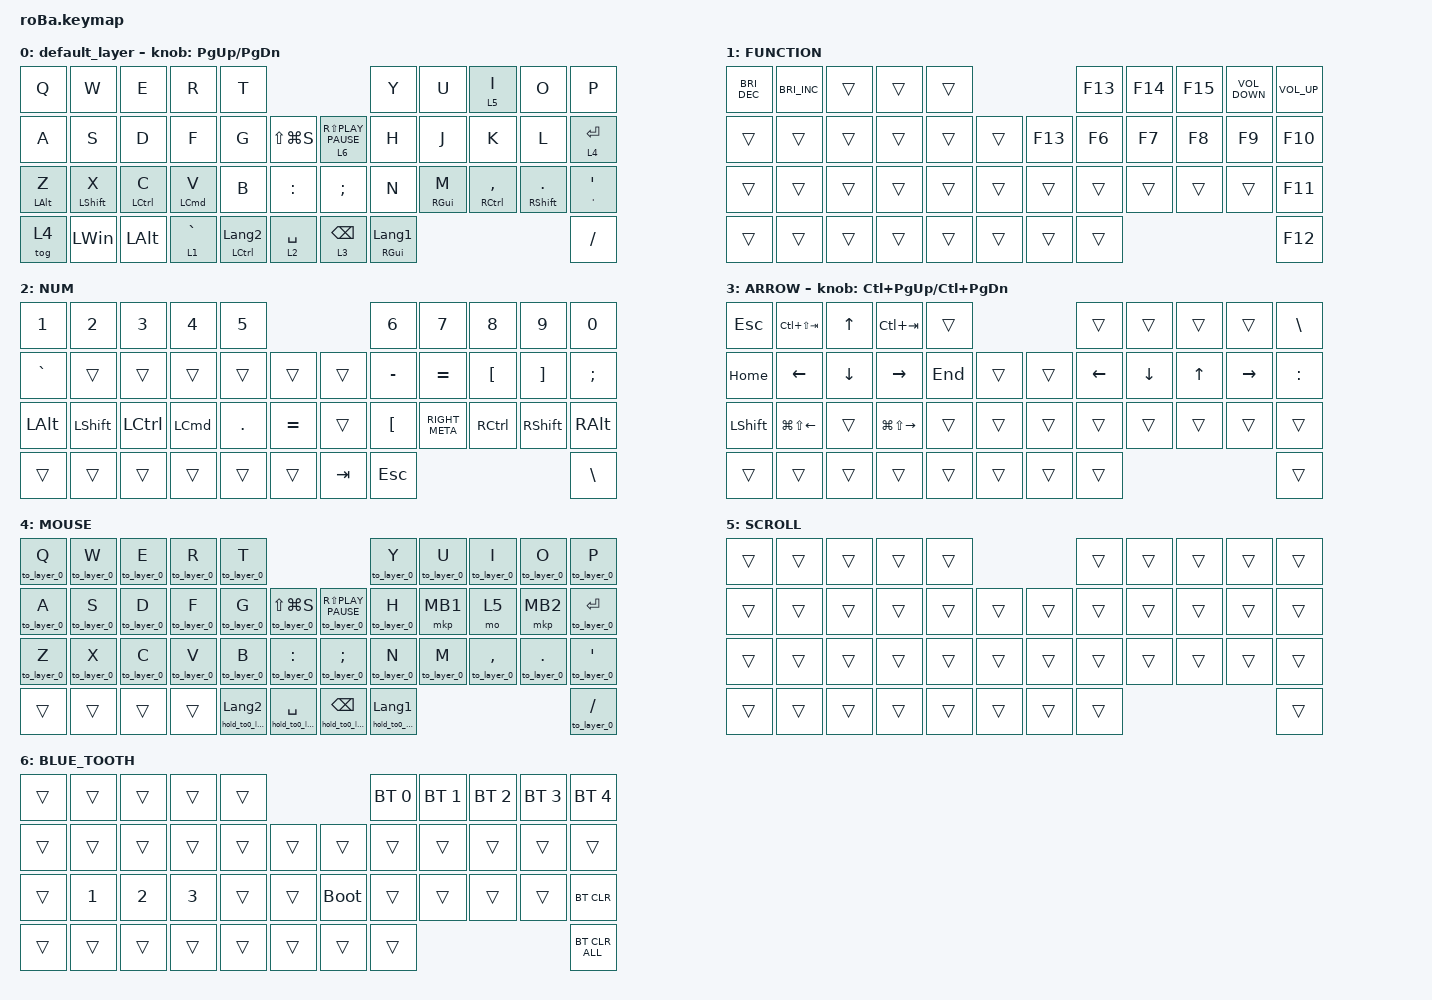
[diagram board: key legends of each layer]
#include <behaviors.dtsi>
#include <dt-bindings/zmk/bt.h>
#include <dt-bindings/zmk/keys.h>
#include <dt-bindings/zmk/pointing.h>

&mt {
    flavor = "balanced";
    quick-tap-ms = <0>;
};

&trackball { scroll-layers = <5>; };

/ {
    combos {
        compatible = "zmk,combos";

        tab {
            bindings = <&kp TAB>;
            key-positions = <11 12>;
        };

        shift_tab {
            bindings = <&kp LS(TAB)>;
            key-positions = <12 13>;
        };

        muhennkann {
            bindings = <&to_layer_0 INT_MUHENKAN>;
            key-positions = <11 10>;
        };

        double_quotation {
            bindings = <&kp DOUBLE_QUOTES>;
            key-positions = <20 21>;
        };

        eq {
            bindings = <&kp EQUAL>;
            key-positions = <24 25>;
        };
    };

    macros {
        // タップ用: layer0に戻る + キー送信

        to_layer_0: to_layer_0 {
            compatible = "zmk,behavior-macro-one-param";
            #binding-cells = <1>;
            bindings = <&to 0 &macro_param_1to1 &kp MACRO_PLACEHOLDER>;
            label = "TO_LAYER_0";
        };

        // ホールド用: layer0に戻る + RIGHT_GUI押し続ける

        hold_to0_rgui: hold_to0_rgui {
            compatible = "zmk,behavior-macro";
            #binding-cells = <0>;
            bindings =
                <&to 0>,
                <&macro_press>,
                <&kp RIGHT_GUI>,
                <&macro_pause_for_release>,
                <&macro_release>,
                <&kp RIGHT_GUI>;
        };

        // ホールド用: layer0に戻る + LEFT_CONTROL押し続ける

        hold_to0_lctrl: hold_to0_lctrl {
            compatible = "zmk,behavior-macro";
            #binding-cells = <0>;
            bindings =
                <&to 0>,
                <&macro_press>,
                <&kp LEFT_CONTROL>,
                <&macro_pause_for_release>,
                <&macro_release>,
                <&kp LEFT_CONTROL>;
        };

        // ホールド用: layer0に戻る + layer2(NUM)

        hold_to0_layer2: hold_to0_layer2 {
            compatible = "zmk,behavior-macro";
            #binding-cells = <0>;
            bindings = <&to 0 &tog 2>, <&macro_pause_for_release>, <&tog 2>;
        };

        // ホールド用: layer0に戻る + layer3(ARROW)

        hold_to0_layer3: hold_to0_layer3 {
            compatible = "zmk,behavior-macro";
            #binding-cells = <0>;
            bindings = <&to 0 &tog 3>, <&macro_pause_for_release>, <&tog 3>;
        };
    };

    behaviors {
        lt_to_layer_0: lt_to_layer_0 {
            compatible = "zmk,behavior-hold-tap";
            label = "LAYER_TAP_TO_0";
            bindings = <&mo>, <&to_layer_0>;

            #binding-cells = <2>;
            tapping-term-ms = <200>;
        };

        // layer0に戻る + tap=LANGUAGE_1, hold=RIGHT_GUI

        ht_to0_rgui_lang1: ht_to0_rgui_lang1 {
            compatible = "zmk,behavior-hold-tap";
            label = "HT_TO0_RGUI_LANG1";
            #binding-cells = <2>;
            tapping-term-ms = <100>;
            flavor = "hold-preferred";
            bindings = <&hold_to0_rgui>, <&to_layer_0>;
        };

        // layer0に戻る + tap=LANGUAGE_2, hold=LEFT_CONTROL

        ht_to0_lctrl_lang2: ht_to0_lctrl_lang2 {
            compatible = "zmk,behavior-hold-tap";
            label = "HT_TO0_LCTRL_LANG2";
            #binding-cells = <2>;
            tapping-term-ms = <100>;
            flavor = "hold-preferred";
            bindings = <&hold_to0_lctrl>, <&to_layer_0>;
        };

        // layer0に戻る + tap=SPACE, hold=layer2(NUM)

        ht_to0_num_space: ht_to0_num_space {
            compatible = "zmk,behavior-hold-tap";
            label = "HT_TO0_NUM_SPACE";
            #binding-cells = <2>;
            tapping-term-ms = <100>;
            flavor = "hold-preferred";
            bindings = <&hold_to0_layer2>, <&to_layer_0>;
        };

        // layer0に戻る + tap=BACKSPACE, hold=layer3(ARROW)

        ht_to0_arrow_bs: ht_to0_arrow_bs {
            compatible = "zmk,behavior-hold-tap";
            label = "HT_TO0_ARROW_BS";
            #binding-cells = <2>;
            tapping-term-ms = <100>;
            flavor = "hold-preferred";
            bindings = <&hold_to0_layer3>, <&to_layer_0>;
        };
    };

    keymap {
        compatible = "zmk,keymap";

        default_layer {
            bindings = <
&kp Q           &kp W             &kp E               &kp R               &kp T                                                            &kp Y                     &kp U            &lt 5 I                  &kp O                   &kp P
&kp A           &kp S             &kp D               &kp F               &kp G                 &kp LS(LG(S))      &lt 6 RS(K_PLAY_PAUSE)  &kp H                     &kp J            &kp K                    &kp L                   &lt 4 ENTER
&mt LEFT_ALT Z  &mt LEFT_SHIFT X  &mt LEFT_CONTROL C  &mt LEFT_COMMAND V  &kp B                 &kp COLON          &kp SEMICOLON           &kp N                     &mt RIGHT_GUI M  &mt RIGHT_CONTROL COMMA  &mt RIGHT_SHIFT PERIOD  &mt SINGLE_QUOTE SINGLE_QUOTE
&tog 4          &kp LEFT_WIN      &kp LEFT_ALT        &lt 1 GRAVE         &mt LCTRL LANGUAGE_2  &lt 2 SPACE        &lt 3 BACKSPACE         &mt RIGHT_GUI LANGUAGE_1                                                                    &kp SLASH
            >;

            sensor-bindings = <&inc_dec_kp PG_UP PAGE_DOWN>;
        };

        FUNCTION {
            bindings = <
&kp C_BRIGHTNESS_DEC  &kp C_BRIGHTNESS_INC  &trans  &trans  &trans                       &kp F13  &kp F14  &kp F15  &kp C_VOLUME_DOWN  &kp C_VOLUME_UP
&trans                &trans                &trans  &trans  &trans  &trans      &kp F13  &kp F6   &kp F7   &kp F8   &kp F9             &kp F10
&trans                &trans                &trans  &trans  &trans  &trans      &trans   &trans   &trans   &trans   &trans             &kp F11
&trans                &trans                &trans  &trans  &trans  &trans      &trans   &trans                                        &kp F12
            >;
        };

        NUM {
            bindings = <
&kp NUMBER_1  &kp NUMBER_2    &kp NUMBER_3      &kp NUMBER_4      &kp NUMBER_5                          &kp NUMBER_6      &kp NUMBER_7    &kp NUMBER_8       &kp NUMBER_9       &kp NUMBER_0
&kp GRAVE     &trans          &trans            &trans            &trans        &trans         &trans   &kp MINUS         &kp EQUAL       &kp LEFT_BRACKET   &kp RIGHT_BRACKET  &kp SEMICOLON
&kp LEFT_ALT  &kp LEFT_SHIFT  &kp LEFT_CONTROL  &kp LEFT_COMMAND  &kp PERIOD    &kp EQUAL      &trans   &kp LEFT_BRACKET  &kp RIGHT_META  &kp RIGHT_CONTROL  &kp RIGHT_SHIFT    &kp RIGHT_ALT
&trans        &trans          &trans            &trans            &trans        &trans         &kp TAB  &kp ESCAPE                                                              &kp BACKSLASH
            >;
        };

        ARROW {
            bindings = <
&kp ESCAPE      &kp LC(LS(TAB))         &kp UP_ARROW    &kp LC(TAB)              &trans                       &trans    &trans    &trans  &trans     &kp BACKSLASH
&kp HOME        &kp LEFT_ARROW          &kp DOWN_ARROW  &kp RIGHT_ARROW          &kp END  &trans      &trans  &kp LEFT  &kp DOWN  &kp UP  &kp RIGHT  &kp COLON
&kp LEFT_SHIFT  &kp LG(LS(LEFT_ARROW))  &trans          &kp LG(LS(RIGHT_ARROW))  &trans   &trans      &trans  &trans    &trans    &trans  &trans     &trans
&trans          &trans                  &trans          &trans                   &trans   &trans      &trans  &trans                                 &trans
            >;

            sensor-bindings = <&inc_dec_kp LC(PAGE_UP) LC(PAGE_DOWN)>;
        };

        MOUSE {
            bindings = <
&to_layer_0 Q  &to_layer_0 W  &to_layer_0 E  &to_layer_0 R  &to_layer_0 T                                                                                  &to_layer_0 Y                    &to_layer_0 U  &to_layer_0 I      &to_layer_0 O       &to_layer_0 P
&to_layer_0 A  &to_layer_0 S  &to_layer_0 D  &to_layer_0 F  &to_layer_0 G                     &to_layer_0 LS(LG(S))          &to_layer_0 RS(K_PLAY_PAUSE)  &to_layer_0 H                    &mkp MB1       &mo 5              &mkp MB2            &to_layer_0 ENTER
&to_layer_0 Z  &to_layer_0 X  &to_layer_0 C  &to_layer_0 V  &to_layer_0 B                     &to_layer_0 COLON              &to_layer_0 SEMICOLON         &to_layer_0 N                    &to_layer_0 M  &to_layer_0 COMMA  &to_layer_0 PERIOD  &to_layer_0 SINGLE_QUOTE
&trans         &trans         &trans         &trans         &ht_to0_lctrl_lang2 0 LANGUAGE_2  &ht_to0_num_space 0 SPACE      &ht_to0_arrow_bs 0 BACKSPACE  &ht_to0_rgui_lang1 0 LANGUAGE_1                                                        &to_layer_0 SLASH
            >;
        };

        SCROLL {
            bindings = <
&trans  &trans  &trans  &trans  &trans                      &trans  &trans  &trans  &trans  &trans
&trans  &trans  &trans  &trans  &trans  &trans      &trans  &trans  &trans  &trans  &trans  &trans
&trans  &trans  &trans  &trans  &trans  &trans      &trans  &trans  &trans  &trans  &trans  &trans
&trans  &trans  &trans  &trans  &trans  &trans      &trans  &trans                          &trans
            >;
        };

        BLUE_TOOTH {
            bindings = <
&trans  &trans        &trans        &trans        &trans                           &bt BT_SEL 0  &bt BT_SEL 1  &bt BT_SEL 2  &bt BT_SEL 3  &bt BT_SEL 4
&trans  &trans        &trans        &trans        &trans  &trans      &trans       &trans        &trans        &trans        &trans        &trans
&trans  &kp NUMBER_1  &kp NUMBER_2  &kp NUMBER_3  &trans  &trans      &bootloader  &trans        &trans        &trans        &trans        &bt BT_CLR
&trans  &trans        &trans        &trans        &trans  &trans      &trans       &trans                                                  &bt BT_CLR_ALL
            >;
        };
    };
};
